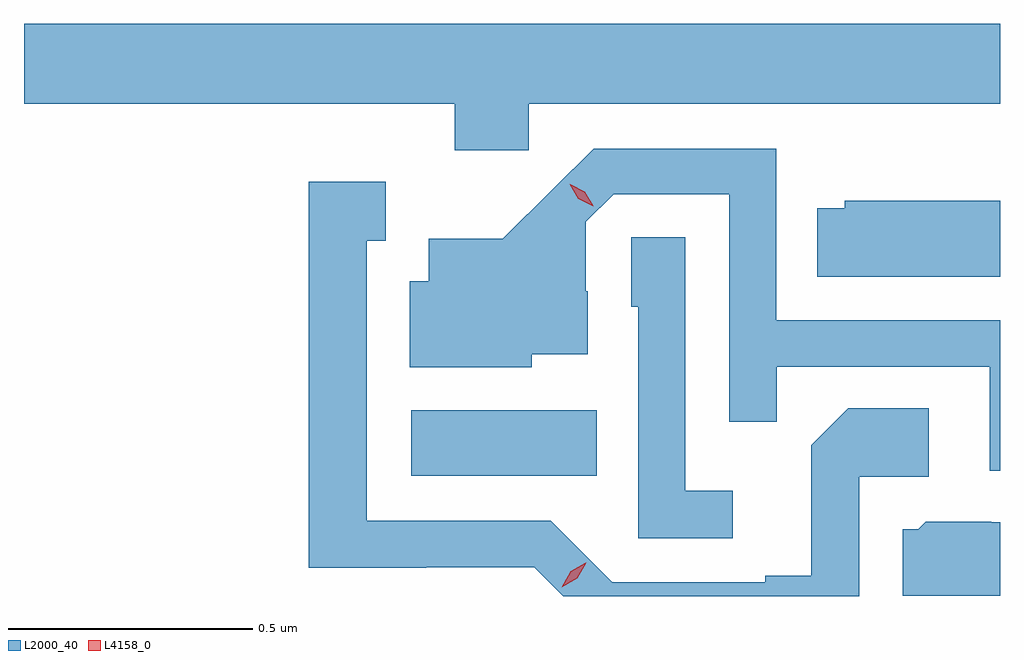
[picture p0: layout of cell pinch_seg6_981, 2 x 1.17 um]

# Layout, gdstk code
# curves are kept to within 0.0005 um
import gdstk
lib = gdstk.Library(unit=1e-6, precision=1e-09)
def R(c, l, rs):  # rectangles x0, y0, x1, y1
    for r in rs: c.add(gdstk.rectangle(r[:2], r[2:], *l))
def P(c, l, *ps):  # polygons
    for p in ps: c.add(gdstk.Polygon(p, *l))
L2000_40 = (2000, 40)
L4158_0 = (4158, 0)

pinch_seg6_981 = lib.new_cell('pinch_seg6_981')
R(pinch_seg6_981, L2000_40, [(345.834,937.25,346.214,937.384)])
P(pinch_seg6_981, L2000_40, [(346.074,938.012),(347.04,938.012),(347.04,938.176),(345.04,938.176),(345.04,938.012),(345.923,938.012),(345.923,937.917),(346.074,937.917)],
  [(347.04,937.569),(346.581,937.569),(346.581,937.92),(346.208,937.92),(346.021,937.735),(345.869,937.735),(345.869,937.648),(345.83,937.648),(345.83,937.472),(346.08,937.472),(346.08,937.499),(346.195,937.499),(346.195,937.628),(346.191,937.628),(346.191,937.77),(346.248,937.827),(346.485,937.827),(346.485,937.36),(346.583,937.36),(346.583,937.473),(347.019,937.473),(347.019,937.26),(347.04,937.26)],
  [(346.752,937.248),(346.894,937.248),(346.894,937.388),(346.729,937.388),(346.653,937.312),(346.653,937.045),(346.559,937.045),(346.559,937.032),(346.245,937.032),(346.119,937.158),(345.742,937.158),(345.742,937.731),(345.781,937.731),(345.781,937.852),(345.624,937.852),(345.624,937.061),(345.864,937.061),(345.864,937.062),(346.086,937.062),(346.145,937.003),(346.752,937.003)],
  [(347.04,937.813),(346.722,937.813),(346.722,937.798),(346.666,937.798),(346.666,937.658),(347.04,937.658)],
  [(346.492,937.219),(346.395,937.219),(346.395,937.739),(346.284,937.739),(346.284,937.596),(346.299,937.596),(346.299,937.122),(346.492,937.122)],
  [(347.04,937.155),(347.022,937.155),(347.022,937.156),(346.888,937.156),(346.872,937.14),(346.841,937.14),(346.841,937.004),(347.04,937.004)])
P(pinch_seg6_981, L4158_0, [(346.207,937.802),(346.176,937.817),(346.158,937.847),(346.158,937.847),(346.159,937.847),(346.189,937.832),(346.207,937.803),(346.207,937.802)],
  [(346.142,937.021),(346.142,937.021),(346.16,937.054),(346.191,937.072),(346.192,937.072),(346.192,937.072),(346.174,937.04),(346.142,937.021)])

lib.write_gds('pinch_seg6_981.gds')
